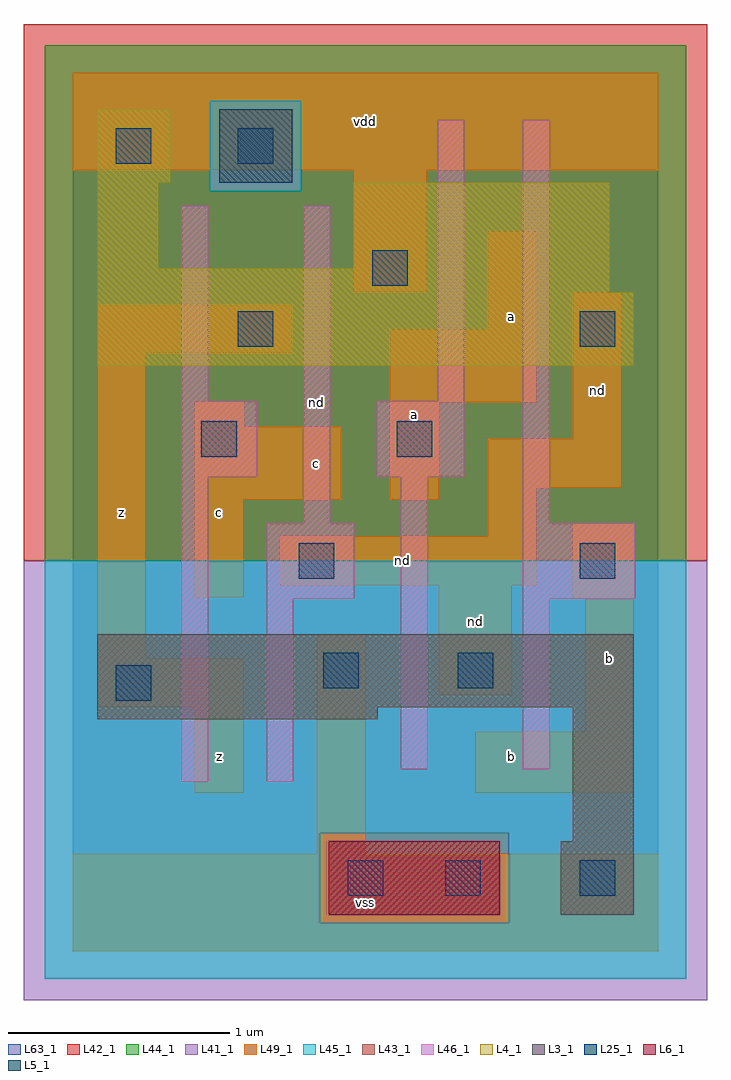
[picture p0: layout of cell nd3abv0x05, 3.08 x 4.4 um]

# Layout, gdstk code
import gdstk
lib = gdstk.Library(unit=1e-6, precision=1e-09)
def R(c, l, rs):  # rectangles x0, y0, x1, y1
    for r in rs: c.add(gdstk.rectangle(r[:2], r[2:], *l))
L3_1 = (3, 1)
L4_1 = (4, 1)
L5_1 = (5, 1)
L6_1 = (6, 1)
L25_1 = (25, 1)
L41_1 = (41, 1)
L42_1 = (42, 1)
L43_1 = (43, 1)
L44_1 = (44, 1)
L45_1 = (45, 1)
L46_1 = (46, 1)
L49_1 = (49, 1)
L63_1 = (63, 1)

nd3abv0x05 = lib.new_cell('nd3abv0x05')
R(nd3abv0x05, L3_1, [(2.2,0.165,2.53,0.495), (2.255,0.495,2.53,1.1), (0.11,1.045,1.375,1.1), (0.11,1.1,2.53,1.43)])
R(nd3abv0x05, L4_1, [(0.11,2.64,2.53,2.97), (0.11,2.97,2.42,3.08), (0.11,3.08,0.385,3.465), (1.265,3.08,2.42,3.465), (0.11,3.465,0.44,3.795)])
R(nd3abv0x05, L5_1, [(0.66,3.465,0.99,3.795)])
R(nd3abv0x05, L6_1, [(1.155,0.165,1.925,0.495)])
R(nd3abv0x05, L25_1, [(1.24,0.25,1.4,0.41), (1.68,0.25,1.84,0.41), (2.285,0.25,2.445,0.41), (0.195,1.13,0.355,1.29), (1.13,1.185,1.29,1.345), (1.735,1.185,1.895,1.345), (1.02,1.68,1.18,1.84), (2.285,1.68,2.445,1.84), (0.58,2.23,0.74,2.39), (1.46,2.23,1.62,2.39), (0.745,2.725,0.905,2.885), (2.285,2.725,2.445,2.885), (1.35,3,1.51,3.16), (0.195,3.55,0.355,3.71), (0.745,3.55,0.905,3.71)])
R(nd3abv0x05, L41_1, [(-0.22,-0.22,2.86,1.76)])
R(nd3abv0x05, L42_1, [(-0.22,1.76,2.86,4.18)])
R(nd3abv0x05, L43_1, [(1.155,0.165,1.925,0.495), (2.2,0.165,2.53,0.495), (2.255,0.495,2.53,1.1), (0.11,1.045,1.375,1.1), (0.11,1.1,2.53,1.43), (0.11,2.64,2.53,2.97), (0.11,2.97,2.42,3.08), (0.11,3.08,0.385,3.465), (1.265,3.08,2.42,3.465), (0.11,3.465,0.44,3.795), (0.66,3.465,0.99,3.795)])
R(nd3abv0x05, L44_1, [(1.115,0.125,1.965,0.535), (-0.125,1.76,2.765,3.425), (-0.125,3.425,0.62,3.835), (1.03,3.425,2.765,3.835), (-0.125,3.835,2.765,4.085)])
R(nd3abv0x05, L45_1, [(-0.125,-0.125,2.765,0.125), (-0.125,0.125,1.115,0.535), (1.965,0.125,2.765,0.535), (-0.125,0.535,2.765,1.76), (0.62,3.425,1.03,3.835)])
R(nd3abv0x05, L46_1, [(0.49,0.765,0.61,2.14), (0.875,0.765,0.995,1.59), (1.48,0.82,1.6,2.14), (2.03,0.82,2.15,1.59), (0.875,1.59,1.27,1.93), (2.03,1.59,2.535,1.93), (1.04,1.93,1.16,3.36), (2.03,1.93,2.15,3.745), (0.49,2.14,0.83,2.48), (1.37,2.14,1.765,2.48), (0.49,2.48,0.61,3.36), (1.645,2.48,1.765,3.745)])
R(nd3abv0x05, L49_1, [(0,0,2.64,0.44), (1.1,0.44,1.32,1.43), (0.55,0.715,0.77,1.1), (1.815,0.715,2.53,0.99), (2.31,0.99,2.53,1.595), (0.11,1.1,0.77,1.32), (1.65,1.155,1.98,1.65), (0.11,1.32,0.33,2.695), (0.55,1.595,0.77,2.035), (2.255,1.595,2.53,1.925), (0.935,1.65,2.09,1.87), (1.87,1.87,2.09,2.09), (0.55,2.035,1.21,2.365), (1.43,2.035,1.65,2.475), (1.87,2.09,2.475,2.31), (2.255,2.31,2.475,2.97), (0.55,2.365,0.77,2.475), (1.43,2.475,2.09,2.805), (0.11,2.695,0.99,2.915), (1.87,2.805,2.09,3.245), (1.265,2.97,1.595,3.52), (0,3.52,2.64,3.96)])
R(nd3abv0x05, L63_1, [(0,0,2.64,3.96)])
nd3abv0x05.add(gdstk.Label('nd', (1.1,2.475), layer=46, texttype=1))
nd3abv0x05.add(gdstk.Label('z', (0.22,1.98), layer=49, texttype=1))
nd3abv0x05.add(gdstk.Label('z', (0.66,0.88), layer=49, texttype=1))
nd3abv0x05.add(gdstk.Label('c', (1.1,2.2), layer=49, texttype=1))
nd3abv0x05.add(gdstk.Label('c', (0.66,1.98), layer=49, texttype=1))
nd3abv0x05.add(gdstk.Label('vss', (1.32,0.22), layer=49, texttype=1))
nd3abv0x05.add(gdstk.Label('nd', (1.815,1.485), layer=49, texttype=1))
nd3abv0x05.add(gdstk.Label('a', (1.54,2.42), layer=49, texttype=1))
nd3abv0x05.add(gdstk.Label('vdd', (1.32,3.74), layer=49, texttype=1))
nd3abv0x05.add(gdstk.Label('b', (1.98,0.88), layer=49, texttype=1))
nd3abv0x05.add(gdstk.Label('nd', (1.485,1.76), layer=49, texttype=1))
nd3abv0x05.add(gdstk.Label('b', (2.42,1.32), layer=49, texttype=1))
nd3abv0x05.add(gdstk.Label('nd', (2.365,2.53), layer=49, texttype=1))
nd3abv0x05.add(gdstk.Label('a', (1.98,2.86), layer=49, texttype=1))

lib.write_gds('nd3abv0x05.gds')
